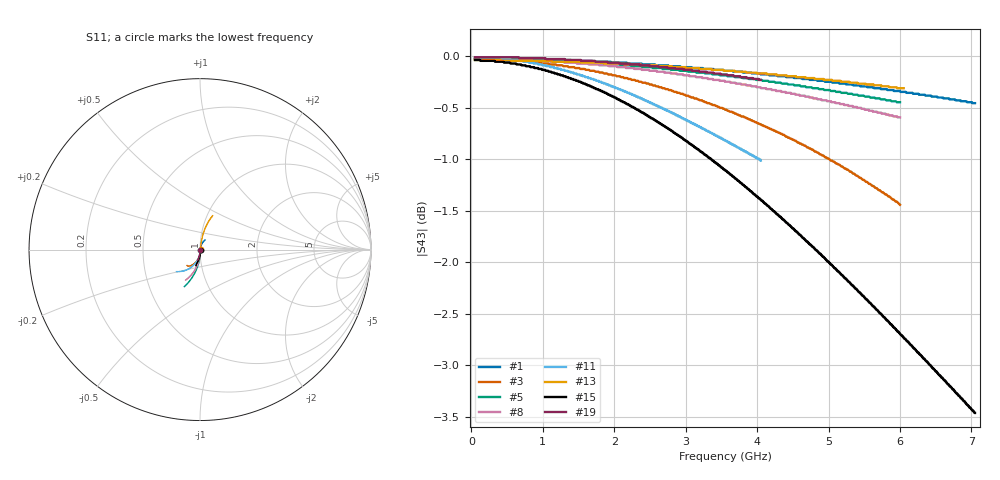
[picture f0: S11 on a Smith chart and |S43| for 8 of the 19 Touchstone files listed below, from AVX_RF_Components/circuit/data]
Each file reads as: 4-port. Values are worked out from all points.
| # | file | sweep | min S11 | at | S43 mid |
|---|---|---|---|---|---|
| 1 | CP0302AE.s4p | 50 MHz to 7.05 GHz | -52.1 dB | 50 MHz | -0.1 dB at 3.554 GHz |
| 2 | CP0402AA.s4p | 50 MHz to 6 GHz | -49.3 dB | 50 MHz | -0.7 dB at 3.032 GHz |
| 3 | CP0402AB.s4p | 50 MHz to 6 GHz | -49.0 dB | 50 MHz | -0.4 dB at 3.032 GHz |
| 4 | CP0402AE.s4p | 50 MHz to 6 GHz | -49.0 dB | 50 MHz | -0.2 dB at 3.032 GHz |
| 5 | CP0402AF.s4p | 50 MHz to 6 GHz | -48.7 dB | 50 MHz | -0.1 dB at 3.032 GHz |
| 6 | CP0402AG.s4p | 50 MHz to 6 GHz | -46.5 dB | 50 MHz | -1.7 dB at 3.028 GHz |
| 7 | CP0402PA.s4p | 50 MHz to 6 GHz | -49.3 dB | 50 MHz | -0.7 dB at 3.032 GHz |
| 8 | CP0402PE.s4p | 50 MHz to 6 GHz | -49.0 dB | 50 MHz | -0.2 dB at 3.025 GHz |
| 9 | CP0402PJ.s4p | 40 MHz to 4 GHz | -44.4 dB | 40 MHz | -0.1 dB at 2.02 GHz |
| 10 | CP0603ACN.s4p | 50 MHz to 4.05 GHz | -41.2 dB | 50 MHz | -0.9 dB at 2.05 GHz |
| 11 | CP0603ACS.s4p | 50 MHz to 4.05 GHz | -50.6 dB | 50 MHz | -0.3 dB at 2.052 GHz |
| 12 | CP0603ADS.s4p | 40 MHz to 4 GHz | -44.3 dB | 40 MHz | -0.9 dB at 2.02 GHz |
| 13 | CP0603AGN.s4p | 50 MHz to 6.05 GHz | -46.5 dB | 50 MHz | -0.1 dB at 3.053 GHz |
| 14 | CP0603AHN.s4p | 50 MHz to 4.05 GHz | -42.0 dB | 50 MHz | -0.6 dB at 2.05 GHz |
| 15 | CP0603AKN.s4p | 50 MHz to 7.05 GHz | -46.9 dB | 50 MHz | -1.1 dB at 3.554 GHz |
| 16 | CP0603ALN.s4p | 50 MHz to 7.05 GHz | -46.8 dB | 50 MHz | -0.3 dB at 3.554 GHz |
| 17 | CP0603BAS.S4P | 50 MHz to 4.05 GHz | -48.7 dB | 50 MHz | -0.3 dB at 2.05 GHz |
| 18 | CP0603BBS.s4p | 50 MHz to 7.05 GHz | -46.8 dB | 50 MHz | -0.3 dB at 3.554 GHz |
| 19 | CP0603BCS.s4p | 50 MHz to 4.05 GHz | -58.8 dB | 50 MHz | -0.1 dB at 2.052 GHz |
